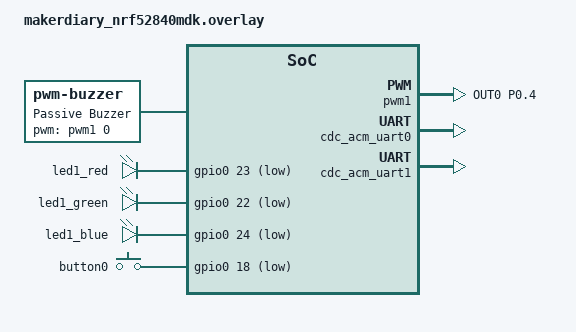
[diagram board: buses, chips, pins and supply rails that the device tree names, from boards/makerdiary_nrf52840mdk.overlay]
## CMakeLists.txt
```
#
# Copyright (c) 2018 Nordic Semiconductor
#
# SPDX-License-Identifier: LicenseRef-Nordic-5-Clause
#
cmake_minimum_required(VERSION 3.20.0)

find_package(Zephyr REQUIRED HINTS $ENV{ZEPHYR_BASE})
project(mouthpad_usb)

# Read VERSION file from repository root (two levels up from ncs/app)
set(VERSION_FILE "${CMAKE_CURRENT_SOURCE_DIR}/../../VERSION")
if(EXISTS "${VERSION_FILE}")
  file(READ "${VERSION_FILE}" FIRMWARE_VERSION_STRING)
  string(STRIP "${FIRMWARE_VERSION_STRING}" FIRMWARE_VERSION_STRING)

  # Parse version string (e.g., "0.1.0" -> major=0, minor=1, patch=0)
  string(REGEX MATCH "^([0-9]+)\\.([0-9]+)\\.([0-9]+)" VERSION_MATCH "${FIRMWARE_VERSION_STRING}")
  if(VERSION_MATCH)
    set(VERSION_MAJOR ${CMAKE_MATCH_1})
    set(VERSION_MINOR ${CMAKE_MATCH_2})
    set(VERSION_PATCH ${CMAKE_MATCH_3})

    # Convert to BCD format for USB descriptor (e.g., 0.1.0 -> 0x0010)
    math(EXPR USB_BCD_DEVICE "(${VERSION_MAJOR} << 8) | (${VERSION_MINOR} << 4) | ${VERSION_PATCH}")

    message(STATUS "Firmware version: ${FIRMWARE_VERSION_STRING} (USB bcdDevice: 0x${USB_BCD_DEVICE})")

    # Pass to compiler
    add_definitions(-DFIRMWARE_VERSION_STRING="${FIRMWARE_VERSION_STRING}")
    add_definitions(-DUSB_BCD_DEVICE=${USB_BCD_DEVICE})
  else()
    message(WARNING "Invalid VERSION format: ${FIRMWARE_VERSION_STRING}")
  endif()
else()
  message(WARNING "VERSION file not found at ${VERSION_FILE}")
endif()

target_include_directories(app PRIVATE
  src/mouthpad-proto/nanopb
  src/mouthpad-proto/src/C
)

# NORDIC SDK APP START
  target_sources(app PRIVATE
    src/ble_transport.c
    src/ble_central.c
    src/ble_nus_client.c
    src/ble_hid.c
    src/ble_bas.c
    src/ble_dis.c
    src/usb_cdc.c
    src/usb_hid.c
    src/sample_usbd_init.c
    src/oled_display.c
    src/buzzer.c
    src/leds.c
    src/button.c
    src/main.c
    src/mouthpad-proto/src/C/MouthpadRelay.pb.c
    src/mouthpad-proto/nanopb/pb_common.c
    src/mouthpad-proto/nanopb/pb_decode.c
    src/mouthpad-proto/nanopb/pb_encode.c
  )

# Add PSELRESET erase support only for MakerDiary nRF52840 MDK dongle
# This board needs PSELRESET erased to use P0.18 as button GPIO instead of reset pin
if(CONFIG_DONGLE_VARIANT_STRING STREQUAL "makerdiary_nrf52840mdk")
  target_sources(app PRIVATE
    src/pselreset_erase.c
  )
endif()

# NORDIC SDK APP END
```

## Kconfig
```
# Application configuration

config DONGLE_VARIANT_STRING
	string "Dongle hardware variant identifier"
	default ""
	help
	  Hardware variant string (e.g., "nordic", "april") to distinguish
	  between different hardware revisions with the same base board.

# USB device descriptor configuration
config SAMPLE_USBD_PID
	hex "USB Product ID"
	default 0xEEEE

config SAMPLE_USBD_MANUFACTURER
	string "USB Manufacturer String"
	default "Augmental Tech"

config SAMPLE_USBD_PRODUCT
	string "USB Product String"
	default "MouthPad^USB"

config SAMPLE_USBD_MAX_POWER
	int "USB Max Power (mA / 2)"
	default 50

# Enable settings subsystem for persistent storage
config SETTINGS
	default y

# Enable NVS backend for settings (nRF52840 uses regular flash)
config NVS
	default y if !(SOC_FLASH_NRF_RRAM || SOC_FLASH_NRF_MRAM)

source "Kconfig.zephyr"
```

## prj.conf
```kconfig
#
# Copyright (c) 2018 Nordic Semiconductor
#
# SPDX-License-Identifier: LicenseRef-Nordic-5-Clause
#

# Console configuration - REQUIRED for new USB CDC stack
# All console output (printk + logging) goes to CDC1 via zephyr,console chosen node
CONFIG_CONSOLE=y
CONFIG_UART_CONSOLE=y
CONFIG_SERIAL=y

# Shell for DFU command
CONFIG_SHELL=y
CONFIG_SHELL_BACKEND_SERIAL=y
CONFIG_SHELL_PROMPT_UART=""
# Reduce shell verbosity
CONFIG_SHELL_VT100_COLORS=n
CONFIG_SHELL_STATS=n
CONFIG_SHELL_CMDS_RESIZE=n
CONFIG_SHELL_LOG_BACKEND=n
CONFIG_KERNEL_SHELL=n

# Disable old USB stack explicitly
CONFIG_USB_DEVICE_STACK=n
CONFIG_USB_CDC_ACM=n
CONFIG_USB_DEVICE_HID=n

# Enable new USB device stack
CONFIG_USB_DEVICE_STACK_NEXT=y
CONFIG_USBD_HID_SUPPORT=y
CONFIG_USBD_CDC_ACM_CLASS=y

# CDC requirements
CONFIG_UART_LINE_CTRL=y
CONFIG_UART_USE_RUNTIME_CONFIGURE=y
CONFIG_HWINFO=y

# USB device identity (handled by sample_usbd)
# VID: 0x1915 (Nordic Semiconductor - matches ESP32 firmware)
# PID: 0xEEEE (matches ESP32 firmware)
# Note: SAMPLE_USBD_* configs are undefined in this Zephyr version
# USB descriptor configuration is handled in src/sample_usbd_init.c instead
#CONFIG_SAMPLE_USBD_PID=0xEEEE
#CONFIG_SAMPLE_USBD_MANUFACTURER="Augmental Tech"
#CONFIG_SAMPLE_USBD_PRODUCT="MouthPad^USB"
#CONFIG_SAMPLE_USBD_REMOTE_WAKEUP=y
#CONFIG_SAMPLE_USBD_SELF_POWERED=n
#CONFIG_SAMPLE_USBD_MAX_POWER=50

# Serial number from device ID (8 bytes = 16 hex chars, similar to ESP32 MAC)
CONFIG_USBD_HWINFO_DEVID_LENGTH=8

# Enable the BLE stack with GATT Client configuration
CONFIG_BT=y
CONFIG_BT_CENTRAL=y
CONFIG_BT_SMP=y
CONFIG_BT_ATT_TX_COUNT=5
CONFIG_BT_GATT_CLIENT=y

# Enable larger MTU for BLE NUS
CONFIG_BT_L2CAP_TX_MTU=247
CONFIG_BT_BUF_ACL_RX_SIZE=247
CONFIG_BT_BUF_ACL_TX_SIZE=247

# Explicitly disable SC-only mode to allow legacy pairing
CONFIG_BT_SMP_SC_PAIR_ONLY=n

# Enable the BLE modules from NCS
CONFIG_BT_NUS_CLIENT=y
CONFIG_BT_SCAN=y
CONFIG_BT_SCAN_FILTER_ENABLE=y
# Need 2 UUID filter slots: one for HID, one for NUS
CONFIG_BT_SCAN_UUID_CNT=2
CONFIG_BT_PRIVACY=y
CONFIG_BT_SCAN_ADDRESS_CNT=8
CONFIG_BT_GATT_DM=y
CONFIG_BT_HOGP=y
CONFIG_BT_BAS_CLIENT=y

# Aggressive scanning for better discovery and connection
# CONFIG_BT_SCAN_WITH_IDENTITY conflicts with BT_PRIVACY
# Note: Scan interval/window are set programmatically in ble_central.c for faster pairing

# Background scan (during active connection for RSSI updates)
CONFIG_BT_BACKGROUND_SCAN_INTERVAL=60
CONFIG_BT_BACKGROUND_SCAN_WINDOW=30

# BLE connection and pairing limits
CONFIG_BT_MAX_CONN=8
# Support up to 4 bonded devices for multi-MouthPad support
CONFIG_BT_MAX_PAIRED=4
CONFIG_BT_KEYS_OVERWRITE_OLDEST=y
CONFIG_BT_GATT_DM_MAX_ATTRS=100
CONFIG_BT_L2CAP_TX_BUF_COUNT=5
CONFIG_BT_HOGP_REPORTS_MAX=32
CONFIG_BT_DEVICE_NAME="MouthPad^USB"

CONFIG_HEAP_MEM_POOL_SIZE=16384

CONFIG_MAIN_STACK_SIZE=2048
CONFIG_SYSTEM_WORKQUEUE_STACK_SIZE=16384

# Enable bonding and persistent settings storage
CONFIG_SETTINGS=y
CONFIG_BT_SETTINGS=y
CONFIG_FLASH=y
CONFIG_FLASH_PAGE_LAYOUT=y
CONFIG_FLASH_MAP=y

# BLE Signal Strength & Connection Improvements
# TX Power: Set to maximum (+8 dBm for nRF52840)
CONFIG_BT_CTLR_TX_PWR_PLUS_8=y

# PHY Support: Enable 2M PHY for better throughput and Coded PHY for longer range
CONFIG_BT_USER_PHY_UPDATE=y
CONFIG_BT_AUTO_PHY_UPDATE=y
CONFIG_BT_CTLR_PHY_2M=y
CONFIG_BT_CTLR_PHY_CODED=y

# Data Length Extension for larger packets
CONFIG_BT_USER_DATA_LEN_UPDATE=y
CONFIG_BT_AUTO_DATA_LEN_UPDATE=y
CONFIG_BT_CTLR_DATA_LENGTH_MAX=247

# Link Layer optimizations for stability
CONFIG_BT_CTLR_CONN_RSSI=y
CONFIG_BT_CTLR_CHAN_SEL_2=y
CONFIG_BT_CTLR_LE_PING=y

# Buffer optimizations
CONFIG_BT_BUF_ACL_RX_SIZE=251
CONFIG_BT_BUF_ACL_TX_SIZE=251

CONFIG_DK_LIBRARY=y

# Console & Logging - matches working /samples/dual_cdc_hid config
# All output goes to CDC1 via zephyr,console chosen node
CONFIG_PRINTK=y
CONFIG_LOG=y
# Use deferred mode for stable enumeration (immediate mode breaks USB)
# CONFIG_LOG_MODE_IMMEDIATE is not set - defaults to deferred
CONFIG_LOG_BUFFER_SIZE=8192

# Enable UART backend for proper CDC logging
CONFIG_LOG_BACKEND_UART=y
# Disable colored output (removes ANSI escape codes)
CONFIG_LOG_BACKEND_FORMAT_TIMESTAMP=n
CONFIG_LOG_BACKEND_SHOW_COLOR=n

# USB logging levels - WRN to reduce control transfer noise
CONFIG_USBD_LOG_LEVEL_WRN=y
CONFIG_USBD_HID_LOG_LEVEL_WRN=y
# CDC_ACM logging must be disabled to prevent recursion (console uses CDC_ACM)
CONFIG_USBD_CDC_ACM_LOG_LEVEL_OFF=y
CONFIG_UDC_DRIVER_LOG_LEVEL_WRN=y

# BLE logging levels - enable for our custom modules
CONFIG_BT_LOG_LEVEL_INF=y
CONFIG_BT_HCI_CORE_LOG_LEVEL_INF=y

CONFIG_ASSERT=y

CONFIG_GPIO=y
CONFIG_INPUT=y
CONFIG_INPUT_MODE_SYNCHRONOUS=y
CONFIG_INPUT_GPIO_KEYS=y

# Display Support
CONFIG_I2C=y
CONFIG_DISPLAY=y
CONFIG_SSD1306=y
CONFIG_DISPLAY_LOG_LEVEL_ERR=y
CONFIG_CHARACTER_FRAMEBUFFER=y

# PWM Support for Buzzer
CONFIG_PWM=y
CONFIG_PWM_LOG_LEVEL_ERR=y

# UF2 Bootloader Support
CONFIG_BUILD_OUTPUT_UF2=y
```

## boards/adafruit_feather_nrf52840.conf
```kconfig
# Board-specific configuration for Adafruit Feather nRF52840

# Build UF2 by default, supported by the Adafruit nRF52 Bootloader
CONFIG_BUILD_OUTPUT_UF2=y
CONFIG_BOOTLOADER_MCUBOOT=n

# Flash and partition support (required for custom partition layouts)
CONFIG_FLASH=y
CONFIG_FLASH_PAGE_LAYOUT=y
CONFIG_FLASH_MAP=y
CONFIG_USE_DT_CODE_PARTITION=y

# Enable BT settings with NVS backend for persistent storage
CONFIG_BT_SETTINGS=y

# NVS backend for settings (required for persistence to flash)
CONFIG_SETTINGS_NVS=y

# NVS configuration for 32KB storage partition (0x8000 bytes)
# Flash page size is 4KB (0x1000), so 8 sectors * 4KB = 32KB
CONFIG_SETTINGS_NVS_SECTOR_COUNT=8
CONFIG_SETTINGS_NVS_SECTOR_SIZE_MULT=1

# Hardware stack protection (if available)
CONFIG_HW_STACK_PROTECTION=y

# Enable LED strip support for NeoPixel
CONFIG_LED_STRIP=y

# Enable debug logging for LED strip driver
CONFIG_LED_STRIP_LOG_LEVEL_DBG=y

# WS2812 specific configuration - use GPIO to match Arduino approach
CONFIG_WS2812_STRIP_GPIO=y

# Critical: Enable high-frequency clock control for precise WS2812 timing
CONFIG_CLOCK_CONTROL=y
CONFIG_CLOCK_CONTROL_NRF=y

# Enable HFXO for better timing accuracy (recommended by Nordic for WS2812)
CONFIG_CLOCK_CONTROL_NRF_K32SRC_XTAL=y
CONFIG_CLOCK_CONTROL_NRF_K32SRC_500PPM=y
```

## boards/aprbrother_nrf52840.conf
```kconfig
# Board-specific configuration for nRF52840 Dongle with Adafruit UF2 Bootloader
# April Brothers variant (non-standard LED wiring)
# No SoftDevice variant (code starts at 0x1000)
#
# NOTE: Partition layout is defined in pm_static_nrf52840dongle_nrf52840.yml
# NOTE: BOARD_HAS_NRF5_BOOTLOADER=n is set in nrf52840dongle_nrf52840_defconfig

# Dongle variant identifier
CONFIG_DONGLE_VARIANT_STRING="aprbrother_nrf52840"

# Build UF2 for Adafruit bootloader
CONFIG_BUILD_OUTPUT_UF2=y

# Disable MCUboot (we're using UF2 bootloader instead)
CONFIG_BOOTLOADER_MCUBOOT=n

# Disable Nordic bootloader support (set in defconfig, reinforced here)
CONFIG_BOARD_HAS_NRF5_BOOTLOADER=n

# Enable BT settings with NVS backend for persistent storage
CONFIG_BT_SETTINGS=y

# NVS backend for settings (required for persistence to flash)
CONFIG_SETTINGS_NVS=y

# NVS configuration for storage partition (64KB at 0xee000 from pm_static)
CONFIG_SETTINGS_NVS_SECTOR_COUNT=8
CONFIG_SETTINGS_NVS_SECTOR_SIZE_MULT=1

# Hardware stack protection
CONFIG_HW_STACK_PROTECTION=y

# Disable display support
CONFIG_DISPLAY=n

# Flash and partition support
CONFIG_FLASH=y
CONFIG_FLASH_PAGE_LAYOUT=y
CONFIG_FLASH_MAP=y
CONFIG_USE_DT_CODE_PARTITION=y
```

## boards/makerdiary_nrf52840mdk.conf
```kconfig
# Board-specific configuration for MakerDiary nRF52840 MDK USB Dongle with Adafruit UF2 Bootloader
# No SoftDevice variant (code starts at 0x1000)
#
# NOTE: Partition layout is defined in pm_static_nrf52840dongle_nrf52840.yml
# NOTE: BOARD_HAS_NRF5_BOOTLOADER=n is set in nrf52840dongle_nrf52840_defconfig

# Dongle variant identifier
CONFIG_DONGLE_VARIANT_STRING="makerdiary_nrf52840mdk"

# Disable GPIO as reset pin to allow P0.18 button to work
CONFIG_GPIO_AS_PINRESET=n

# Build UF2 for Adafruit bootloader
CONFIG_BUILD_OUTPUT_UF2=y

# Disable MCUboot (we're using UF2 bootloader instead)
CONFIG_BOOTLOADER_MCUBOOT=n

# Disable Nordic bootloader support (set in defconfig, reinforced here)
CONFIG_BOARD_HAS_NRF5_BOOTLOADER=n

# Enable BT settings with NVS backend for persistent storage
CONFIG_BT_SETTINGS=y

# NVS backend for settings (required for persistence to flash)
CONFIG_SETTINGS_NVS=y

# NVS configuration for storage partition (64KB at 0xee000 from pm_static)
CONFIG_SETTINGS_NVS_SECTOR_COUNT=8
CONFIG_SETTINGS_NVS_SECTOR_SIZE_MULT=1

# Hardware stack protection
CONFIG_HW_STACK_PROTECTION=y

# Disable display support
CONFIG_DISPLAY=n

# Flash and partition support
CONFIG_FLASH=y
CONFIG_FLASH_PAGE_LAYOUT=y
CONFIG_FLASH_MAP=y
CONFIG_USE_DT_CODE_PARTITION=y
```

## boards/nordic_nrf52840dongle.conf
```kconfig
# Board-specific configuration for nRF52840 Dongle with Adafruit UF2 Bootloader
# Nordic PCA10059 variant (stock pins)
# No SoftDevice variant (code starts at 0x1000)
#
# NOTE: Partition layout is defined in pm_static_nrf52840dongle_nrf52840.yml
# NOTE: BOARD_HAS_NRF5_BOOTLOADER=n is set in nrf52840dongle_nrf52840_defconfig

# Dongle variant identifier
CONFIG_DONGLE_VARIANT_STRING="nordic_nrf52840dongle"

# Build UF2 for Adafruit bootloader
CONFIG_BUILD_OUTPUT_UF2=y

# Disable MCUboot (we're using UF2 bootloader instead)
CONFIG_BOOTLOADER_MCUBOOT=n

# Disable Nordic bootloader support (set in defconfig, reinforced here)
CONFIG_BOARD_HAS_NRF5_BOOTLOADER=n

# Enable BT settings with NVS backend for persistent storage
CONFIG_BT_SETTINGS=y

# NVS backend for settings (required for persistence to flash)
CONFIG_SETTINGS_NVS=y

# NVS configuration for storage partition (64KB at 0xee000 from pm_static)
CONFIG_SETTINGS_NVS_SECTOR_COUNT=8
CONFIG_SETTINGS_NVS_SECTOR_SIZE_MULT=1

# Hardware stack protection
CONFIG_HW_STACK_PROTECTION=y

# Disable display support
CONFIG_DISPLAY=n

# Flash and partition support
CONFIG_FLASH=y
CONFIG_FLASH_PAGE_LAYOUT=y
CONFIG_FLASH_MAP=y
CONFIG_USE_DT_CODE_PARTITION=y
```

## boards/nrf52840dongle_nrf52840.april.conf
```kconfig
# Board-specific configuration for nRF52840 Dongle with Adafruit UF2 Bootloader
# April Brothers variant (non-standard LED wiring)
# No SoftDevice variant (code starts at 0x1000)
#
# NOTE: Partition layout is defined in pm_static_nrf52840dongle_nrf52840.yml
# NOTE: BOARD_HAS_NRF5_BOOTLOADER=n is set in nrf52840dongle_nrf52840_defconfig

# Dongle variant identifier
CONFIG_DONGLE_VARIANT_STRING="april"

# Build UF2 for Adafruit bootloader
CONFIG_BUILD_OUTPUT_UF2=y

# Disable MCUboot (we're using UF2 bootloader instead)
CONFIG_BOOTLOADER_MCUBOOT=n

# Disable Nordic bootloader support (set in defconfig, reinforced here)
CONFIG_BOARD_HAS_NRF5_BOOTLOADER=n

# Enable BT settings with NVS backend for persistent storage
CONFIG_BT_SETTINGS=y

# NVS backend for settings (required for persistence to flash)
CONFIG_SETTINGS_NVS=y

# NVS configuration for storage partition (64KB at 0xee000 from pm_static)
CONFIG_SETTINGS_NVS_SECTOR_COUNT=8
CONFIG_SETTINGS_NVS_SECTOR_SIZE_MULT=1

# Hardware stack protection
CONFIG_HW_STACK_PROTECTION=y

# Disable display support
CONFIG_DISPLAY=n

# Flash and partition support
CONFIG_FLASH=y
CONFIG_FLASH_PAGE_LAYOUT=y
CONFIG_FLASH_MAP=y
CONFIG_USE_DT_CODE_PARTITION=y
```

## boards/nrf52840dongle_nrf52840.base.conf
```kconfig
# Nordic PCA10059 variant configuration
# This file is copied to nrf52840dongle_nrf52840.conf during build-nordic-dongle

CONFIG_DONGLE_VARIANT_STRING="nordic"
```

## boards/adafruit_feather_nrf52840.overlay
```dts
/*
 * Copyright (c) 2025 Robert Dale Smith
 * Copyright (c) 2025 Augmental Tech
 *
 * SPDX-License-Identifier: Apache-2.0
 */

/* Adafruit Feather nRF52840 overlay for MouthPad^USB */

#include <zephyr/dt-bindings/led/led.h>

/* Override default MCUboot partitions with UF2-compatible layout for Adafruit nRF52840 */

/* I2C0 can be used for external displays if connected */
&i2c0 {
	status = "okay";
};

/* Add PWM configuration for passive buzzer on pin A0 (P0.04) */
&pinctrl {
	pwm1_default: pwm1_default {
		group1 {
			psels = <NRF_PSEL(PWM_OUT0, 0, 4)>; /* A0 pin for buzzer */
		};
	};

	pwm1_sleep: pwm1_sleep {
		group1 {
			psels = <NRF_PSEL(PWM_OUT0, 0, 4)>;
			low-power-enable;
		};
	};

};

&pwm1 {
	status = "okay";
	pinctrl-0 = <&pwm1_default>;
	pinctrl-1 = <&pwm1_sleep>;
	pinctrl-names = "default", "sleep";
};

/* Use GPIO driver to match Arduino's direct GPIO approach */
/ {
	neopixel: ws2812 {
		compatible = "worldsemi,ws2812-gpio";
		chain-length = <1>;
		color-mapping = <LED_COLOR_ID_GREEN LED_COLOR_ID_RED LED_COLOR_ID_BLUE>; /* GRB order */
		/* P0.16 confirmed by schematic and working Arduino code - high-speed pin */
		gpios = <&gpio0 16 GPIO_ACTIVE_HIGH>;
	};
};

/ {
	chosen {
		nordic,nus-uart = &cdc_acm_uart0;  /* BLE NUS bridge uses CDC0 */
		zephyr,console = &cdc_acm_uart1;   /* Console/logs on CDC1 */
		zephyr,shell-uart = &cdc_acm_uart1;
		zephyr,led-strip = &neopixel;  /* Critical: Set chosen led-strip for timing calculations */
	};

	/* Ensure CPU frequency is properly defined for WS2812 timing calculations */
	cpus {
		cpu@0 {
			clock-frequency = <64000000>;  /* 64MHz - standard nRF52840 frequency */
		};
	};

	aliases {
		buzzer-pwm = &pwm1;
		led-strip = &neopixel;
		led0 = &neopixel;  /* Make led0 alias point to neopixel for HAS_NEOPIXEL detection */
		sw0 = &button0;    /* Use existing Feather user button */
	};

	/* HID device node */
	hid_dev_0: hid_dev_0 {
		compatible = "zephyr,hid-device";
		label = "MouthPad^HID";
		protocol-code = "mouse";
		in-report-size = <64>;
		in-polling-period-us = <1000>;
	};

	buzzer {
		compatible = "pwm-buzzer";
		pwms = <&pwm1 0 1000000 PWM_POLARITY_NORMAL>; /* 1MHz base period */
		label = "Passive Buzzer";
	};

	/* NeoPixel powered directly from 3.3V - no power enable needed */
};

/* Add dual CDC ACM nodes */
&zephyr_udc0 {
	cdc_acm_uart0: cdc_acm_uart0 {
		compatible = "zephyr,cdc-acm-uart";
		label = "CDC_ACM_0";
	};

	cdc_acm_uart1: cdc_acm_uart1 {
		compatible = "zephyr,cdc-acm-uart";
		label = "CDC_ACM_1";
	};
};

/* Remove default partition map before defining UF2 layout */
/delete-node/ &boot_partition;
/delete-node/ &slot0_partition;
/delete-node/ &slot1_partition;
/delete-node/ &storage_partition;

&flash0 {
	/*
	 * UF2 flash layout for nrf52840 using Adafruit bootloader
	 *
	 * 0x00000000 SoftDevice s140 v6    (152 kB)  
	 * 0x00026000 Application partition (792 kB)
	 * 0x000ec000 Storage partition     (32 kB)
	 * 0x000f4000 UF2 boot partition    (48 kB)
	 *
	 * See https://learn.adafruit.com/introducing-the-adafruit-nrf52840-feather/hathach-memory-map
	 */

	partitions {
		compatible = "fixed-partitions";
		#address-cells = <1>;
		#size-cells = <1>;

		sd_partition: partition@0 {
			label = "softdevice";
			reg = <0x00000000 0x00026000>;
		};

	code_partition: partition@26000 {
		label = "code_partition";
		reg = <0x00026000 0x000c6000>;
	};

		storage_partition: partition@ec000 {
			label = "storage";
			reg = <0x000ec000 0x00008000>;
		};

		boot_partition: partition@f4000 {
			label = "adafruit_boot";
			reg = <0x000f4000 0x0000c000>;
		};
	};
};

/ {
	chosen {
		zephyr,code-partition = &code_partition;
		zephyr,settings-partition = &storage_partition;
	};
};
```

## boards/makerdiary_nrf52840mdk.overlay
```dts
/*
 * MakerDiary nRF52840 MDK USB Dongle overlay for MouthPad^USB
 * Hardware: MakerDiary nRF52840 MDK with Adafruit nRF52 Bootloader (no SoftDevice)
 *
 * Bootloader: Adafruit nRF52 UF2 bootloader at 0x0-0x1000
 * USB Drive: Shows as "MDK-DONGLE" when in bootloader mode
 *
 * NOTE: Uses no-SoftDevice memory layout (code starts at 0x1000)
 *       App runs Zephyr BLE controller (no actual SoftDevice binary)
 *
 * MakerDiary MDK Dongle pin assignments (all active LOW):
 *   RGB LED Red: P0.23
 *   RGB LED Green: P0.22
 *   RGB LED Blue: P0.24
 *   USER/RESET Button: P0.18
 */

&pinctrl {
	pwm1_default: pwm1_default {
		group1 {
			psels = <NRF_PSEL(PWM_OUT0, 0, 4)>;
		};
	};

	pwm1_sleep: pwm1_sleep {
		group1 {
			psels = <NRF_PSEL(PWM_OUT0, 0, 4)>;
			low-power-enable;
		};
	};
};

&pwm1 {
	status = "okay";
	pinctrl-0 = <&pwm1_default>;
	pinctrl-1 = <&pwm1_sleep>;
	pinctrl-names = "default", "sleep";
};

/ {
	chosen {
		nordic,nus-uart = &cdc_acm_uart0;
		zephyr,console = &cdc_acm_uart1;
		zephyr,shell-uart = &cdc_acm_uart1;
	};

	aliases {
		buzzer-pwm = &pwm1;
		/* Remap LED aliases to MakerDiary MDK pins */
		led0 = &led1_red;         /* Use red as primary LED */
		led1 = &led1_green;       /* Green */
		led2 = &led1_blue;        /* Blue */
	};

	hid_dev_0: hid_dev_0 {
		compatible = "zephyr,hid-device";
		label = "MouthPad^HID";
		protocol-code = "mouse";
		in-report-size = <64>;
		in-polling-period-us = <1000>;
	};

	buzzer {
		compatible = "pwm-buzzer";
		pwms = <&pwm1 0 1000000 PWM_POLARITY_NORMAL>;
		label = "Passive Buzzer";
	};
};

/* Override LED pins for MakerDiary MDK */
&led1_red {
	gpios = <&gpio0 23 GPIO_ACTIVE_LOW>;
};

&led1_green {
	gpios = <&gpio0 22 GPIO_ACTIVE_LOW>;
};

&led1_blue {
	gpios = <&gpio0 24 GPIO_ACTIVE_LOW>;
};

/* Enable button on P0.18 as GPIO (not reset) */
&button0 {
	gpios = <&gpio0 18 (GPIO_PULL_UP | GPIO_ACTIVE_LOW)>;
};

/* Override UICR to NOT use gpio-as-nreset for MakerDiary MDK
 * This prevents P0.18 from being configured as RESET pin */
&uicr {
	/delete-property/ gpio-as-nreset;
};

/* Disable standalone green LED from Nordic board (not present on MakerDiary) */
&led0_green {
	status = "disabled";
};

/* Disable PWM LEDs from base board (we're using GPIO LEDs) */
&pwm0 {
	status = "disabled";
};

/* Disable UART0 - it conflicts with our LED pins (P0.22, P0.24) and we don't need it */
&uart0 {
	status = "disabled";
};

/* Disable board's default CDC node */
&board_cdc_acm_uart {
	status = "disabled";
};

/* Add dual CDC ACM nodes */
&zephyr_udc0 {
	cdc_acm_uart0: cdc_acm_uart0 {
		compatible = "zephyr,cdc-acm-uart";
		label = "CDC_ACM_0";
	};

	cdc_acm_uart1: cdc_acm_uart1 {
		compatible = "zephyr,cdc-acm-uart";
		label = "CDC_ACM_1";
	};
};

/* Override default partitions for Adafruit bootloader (no SoftDevice) */
/delete-node/ &boot_partition;
/delete-node/ &slot0_partition;
/delete-node/ &slot1_partition;
/delete-node/ &storage_partition;

&flash0 {
	partitions {
		compatible = "fixed-partitions";
		#address-cells = <1>;
		#size-cells = <1>;

		/* Adafruit bootloader resides at 0x0-0x1000 */
		boot_partition: partition@0 {
			label = "adafruit_boot";
			reg = <0x00000000 0x00001000>;
		};

		/* Application code starts immediately after bootloader (no SoftDevice) */
		code_partition: partition@1000 {
			label = "code_partition";
			reg = <0x00001000 0x000ed000>;
		};

		/*
		 * MBR params page (0xfe000) must not be included in our partitions
		 * Storage ends before MBR params
		 */
		storage_partition: partition@ee000 {
			label = "storage";
			reg = <0x000ee000 0x00010000>;
		};
	};
};

/ {
	chosen {
		zephyr,code-partition = &code_partition;
		zephyr,settings-partition = &storage_partition;
	};
};
```

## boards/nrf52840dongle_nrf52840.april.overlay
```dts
/*
 * April Brothers nRF52840 Dongle overlay for MouthPad^USB
 * Hardware based on PCA10059 with Adafruit nRF52 Bootloader
 *
 * Bootloader: Adafruit nRF52 UF2 bootloader with SoftDevice S140 v6.1.1 layout
 * USB Drive: Shows as "NRF52BOOT" when in bootloader mode (double-tap reset)
 *
 * NOTE: Uses SoftDevice memory layout for bootloader compatibility
 *       but app runs Zephyr BLE controller (no actual SoftDevice binary)
 *
 * NOTE: April Brothers claims same pin mapping as Nordic wiki but physical wiring differs!
 * Pin mappings from: https://wiki.aprbrother.com/en/BleUsbDongle.html
 *
 * USAGE: To use this April Brothers variant:
 *   mv app/boards/nrf52840dongle_nrf52840.overlay app/boards/nrf52840dongle_nrf52840_nordic.overlay.bak
 *   mv app/boards/nrf52840dongle_nrf52840_april.overlay app/boards/nrf52840dongle_nrf52840.overlay
 *   make build-april
 *
 * To switch back to Nordic PCA10059:
 *   mv app/boards/nrf52840dongle_nrf52840.overlay app/boards/nrf52840dongle_nrf52840_april.overlay
 *   mv app/boards/nrf52840dongle_nrf52840_nordic.overlay.bak app/boards/nrf52840dongle_nrf52840.overlay
 */

&pinctrl {
	pwm1_default: pwm1_default {
		group1 {
			psels = <NRF_PSEL(PWM_OUT0, 0, 4)>;
		};
	};

	pwm1_sleep: pwm1_sleep {
		group1 {
			psels = <NRF_PSEL(PWM_OUT0, 0, 4)>;
			low-power-enable;
		};
	};
};

&pwm1 {
	status = "okay";
	pinctrl-0 = <&pwm1_default>;
	pinctrl-1 = <&pwm1_sleep>;
	pinctrl-names = "default", "sleep";
};

/* Override LED GPIO pins to match April Brothers ACTUAL physical wiring
 * The base board defines led0_green, led1_red, led1_green, led1_blue
 * We override their GPIO assignments to use the RGB LED (LED2)
 *
 * April Brothers wiki says: Red=P0.08, Green=P1.09, Blue=P0.12
 * Test pattern revealed actual physical LED mapping:
 *   Code RED -> Physical BLUE (P0.08)
 *   Code GREEN -> Physical RED (P1.09)
 *   Code BLUE -> Physical GREEN (P0.12)
 *
 * Correct mapping (swap code channels to get right colors):
 *   led0 (red in code) -> P1.09 (physical red)
 *   led1 (green in code) -> P0.12 (physical green)
 *   led2 (blue in code) -> P0.08 (physical blue)
 */
&led0_green {
	gpios = <&gpio1 9 GPIO_ACTIVE_LOW>;  /* Code red -> Physical red (P1.09) */
	label = "LED Red";
};

&led1_red {
	gpios = <&gpio0 12 GPIO_ACTIVE_LOW>;  /* Code green -> Physical green (P0.12) */
	label = "LED Green";
};

&led1_green {
	gpios = <&gpio0 8 GPIO_ACTIVE_LOW>;  /* Code blue -> Physical blue (P0.08) */
	label = "LED Blue";
};

/* Disable standalone LED1 for sanity check */
&led1_blue {
	status = "disabled";
};

/* Override button to match April Brothers pinout (P1.06) */
&button0 {
	gpios = <&gpio1 6 (GPIO_PULL_UP | GPIO_ACTIVE_LOW)>;
	label = "Push button switch SW1";
};

/ {
	chosen {
		nordic,nus-uart = &cdc_acm_uart0;
		zephyr,console = &cdc_acm_uart1;
		zephyr,shell-uart = &cdc_acm_uart1;
	};

	aliases {
		buzzer-pwm = &pwm1;
	};

	hid_dev_0: hid_dev_0 {
		compatible = "zephyr,hid-device";
		label = "MouthPad^HID";
		protocol-code = "mouse";
		in-report-size = <64>;
		in-polling-period-us = <1000>;
	};

	buzzer {
		compatible = "pwm-buzzer";
		pwms = <&pwm1 0 1000000 PWM_POLARITY_NORMAL>;
		label = "Passive Buzzer";
	};
};

/* Disable board's default CDC node */
&board_cdc_acm_uart {
	status = "disabled";
};

/* Add dual CDC ACM nodes */
&zephyr_udc0 {
	cdc_acm_uart0: cdc_acm_uart0 {
		compatible = "zephyr,cdc-acm-uart";
		label = "CDC_ACM_0";
	};

	cdc_acm_uart1: cdc_acm_uart1 {
		compatible = "zephyr,cdc-acm-uart";
		label = "CDC_ACM_1";
	};
};

/* Override default partitions for Adafruit bootloader (no SoftDevice) */
/delete-node/ &boot_partition;
/delete-node/ &slot0_partition;
/delete-node/ &slot1_partition;
/delete-node/ &storage_partition;

&flash0 {
	partitions {
		compatible = "fixed-partitions";
		#address-cells = <1>;
		#size-cells = <1>;

		/* Adafruit bootloader resides at 0x0-0x1000 */
		boot_partition: partition@0 {
			label = "adafruit_boot";
			reg = <0x00000000 0x00001000>;
		};

		/* Application code starts immediately after bootloader (no SoftDevice) */
		code_partition: partition@1000 {
			label = "code_partition";
			reg = <0x00001000 0x000ed000>;
		};

		/*
		 * MBR params page (0xfe000) must not be included in our partitions
		 * Storage ends before MBR params
		 */
		storage_partition: partition@ee000 {
			label = "storage";
			reg = <0x000ee000 0x00010000>;
		};
	};
};

/ {
	chosen {
		zephyr,code-partition = &code_partition;
		zephyr,settings-partition = &storage_partition;
	};
};
```

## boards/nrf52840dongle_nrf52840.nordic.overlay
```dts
/*
 * Nordic nRF52840 Dongle (PCA10059) overlay for MouthPad^USB
 * Hardware: Nordic PCA10059 with Adafruit nRF52 Bootloader (no SoftDevice)
 *
 * Bootloader: Adafruit nRF52 UF2 bootloader at 0x0-0x1000
 * USB Drive: Shows as "NRF52BOOT" when in bootloader mode (reset button)
 *
 * NOTE: Uses no-SoftDevice memory layout (code starts at 0x1000)
 *       App runs Zephyr BLE controller (no actual SoftDevice binary)
 *
 * This uses STOCK Nordic pin assignments per wiki:
 *   LD1 Green: P0.06
 *   LD2 Red: P0.08, Green: P1.09, Blue: P0.12
 *   SW1 Button: P1.06
 *
 * NOTE: For April Brothers dongle, use nrf52840dongle_nrf52840.april.overlay instead!
 *       April Brothers has different physical LED wiring despite claiming compatibility.
 */

&pinctrl {
	pwm1_default: pwm1_default {
		group1 {
			psels = <NRF_PSEL(PWM_OUT0, 0, 4)>;
		};
	};

	pwm1_sleep: pwm1_sleep {
		group1 {
			psels = <NRF_PSEL(PWM_OUT0, 0, 4)>;
			low-power-enable;
		};
	};
};

&pwm1 {
	status = "okay";
	pinctrl-0 = <&pwm1_default>;
	pinctrl-1 = <&pwm1_sleep>;
	pinctrl-names = "default", "sleep";
};

/* Override LED aliases for Nordic PCA10059 stock wiring
 *
 * Board default aliases:
 *   led0 -> led0_green (LD1 standalone green - NOT what we want)
 *   led1 -> led1_red (LD2 red channel)
 *   led2 -> led1_green (LD2 green channel)
 *   led3 -> led1_blue (LD2 blue channel)
 *
 * Our code expects:
 *   led0 = RED channel
 *   led1 = GREEN channel
 *   led2 = BLUE channel
 *
 * Nordic PCA10059 LD2 (RGB) wiring per wiki:
 *   led1_red -> P0.08 (physical red)
 *   led1_green -> P1.09 (physical green)
 *   led1_blue -> P0.12 (physical blue)
 *
 * Solution: Remap aliases to use only LD2 (RGB LED)
 */

/ {
	chosen {
		nordic,nus-uart = &cdc_acm_uart0;
		zephyr,console = &cdc_acm_uart1;
		zephyr,shell-uart = &cdc_acm_uart1;
	};

	aliases {
		buzzer-pwm = &pwm1;
		/* Remap LEDs to use only LD2 (RGB) instead of LD1 */
		led0 = &led1_red;    /* RED: LD2 red channel (P0.08) */
		led1 = &led1_green;  /* GREEN: LD2 green channel (P1.09) */
		led2 = &led1_blue;   /* BLUE: LD2 blue channel (P0.12) */
	};

	hid_dev_0: hid_dev_0 {
		compatible = "zephyr,hid-device";
		label = "MouthPad^HID";
		protocol-code = "mouse";
		in-report-size = <64>;
		in-polling-period-us = <1000>;
	};

	buzzer {
		compatible = "pwm-buzzer";
		pwms = <&pwm1 0 1000000 PWM_POLARITY_NORMAL>;
		label = "Passive Buzzer";
	};
};

/* Disable board's default CDC node */
&board_cdc_acm_uart {
	status = "disabled";
};

/* Add dual CDC ACM nodes */
&zephyr_udc0 {
	cdc_acm_uart0: cdc_acm_uart0 {
		compatible = "zephyr,cdc-acm-uart";
		label = "CDC_ACM_0";
	};

	cdc_acm_uart1: cdc_acm_uart1 {
		compatible = "zephyr,cdc-acm-uart";
		label = "CDC_ACM_1";
	};
};

/* Override default partitions for Adafruit bootloader (no SoftDevice) */
/delete-node/ &boot_partition;
/delete-node/ &slot0_partition;
/delete-node/ &slot1_partition;
/delete-node/ &storage_partition;

&flash0 {
	partitions {
		compatible = "fixed-partitions";
		#address-cells = <1>;
		#size-cells = <1>;

		/* Adafruit bootloader resides at 0x0-0x1000 */
		boot_partition: partition@0 {
			label = "adafruit_boot";
			reg = <0x00000000 0x00001000>;
		};

		/* Application code starts immediately after bootloader (no SoftDevice) */
		code_partition: partition@1000 {
			label = "code_partition";
			reg = <0x00001000 0x000ed000>;
		};

		/*
		 * MBR params page (0xfe000) must not be included in our partitions
		 * Storage ends before MBR params
		 */
		storage_partition: partition@ee000 {
			label = "storage";
			reg = <0x000ee000 0x00010000>;
		};
	};
};

/ {
	chosen {
		zephyr,code-partition = &code_partition;
		zephyr,settings-partition = &storage_partition;
	};
};
```

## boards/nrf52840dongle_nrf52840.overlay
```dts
/*
 * Nordic nRF52840 Dongle (PCA10059) overlay for MouthPad^USB
 * With Adafruit UF2 Bootloader + SoftDevice S140 6.1.1
 *
 * This uses STOCK Nordic pin assignments per wiki:
 *   LD1 Green: P0.06
 *   LD2 Red: P0.08, Green: P1.09, Blue: P0.12
 *   SW1 Button: P1.06
 *
 * NOTE: For April Brothers dongle, use nrf52840dongle_nrf52840.april.overlay instead!
 *       April Brothers has different physical LED wiring despite claiming compatibility.
 */

&pinctrl {
	pwm1_default: pwm1_default {
		group1 {
			psels = <NRF_PSEL(PWM_OUT0, 0, 4)>;
		};
	};

	pwm1_sleep: pwm1_sleep {
		group1 {
			psels = <NRF_PSEL(PWM_OUT0, 0, 4)>;
			low-power-enable;
		};
	};
};

&pwm1 {
	status = "okay";
	pinctrl-0 = <&pwm1_default>;
	pinctrl-1 = <&pwm1_sleep>;
	pinctrl-names = "default", "sleep";
};

/* Override LED aliases for Nordic PCA10059 stock wiring
 *
 * Board default aliases:
 *   led0 -> led0_green (LD1 standalone green - NOT what we want)
 *   led1 -> led1_red (LD2 red channel)
 *   led2 -> led1_green (LD2 green channel)
 *   led3 -> led1_blue (LD2 blue channel)
 *
 * Our code expects:
 *   led0 = RED channel
 *   led1 = GREEN channel
 *   led2 = BLUE channel
 *
 * Nordic PCA10059 LD2 (RGB) wiring per wiki:
 *   led1_red -> P0.08 (physical red)
 *   led1_green -> P1.09 (physical green)
 *   led1_blue -> P0.12 (physical blue)
 *
 * Solution: Remap aliases to use only LD2 (RGB LED)
 */

/ {
	chosen {
		nordic,nus-uart = &cdc_acm_uart0;
		zephyr,console = &cdc_acm_uart1;
		zephyr,shell-uart = &cdc_acm_uart1;
	};

	aliases {
		buzzer-pwm = &pwm1;
		/* Remap LEDs to use only LD2 (RGB) instead of LD1 */
		led0 = &led1_red;    /* RED: LD2 red channel (P0.08) */
		led1 = &led1_green;  /* GREEN: LD2 green channel (P1.09) */
		led2 = &led1_blue;   /* BLUE: LD2 blue channel (P0.12) */
	};

	hid_dev_0: hid_dev_0 {
		compatible = "zephyr,hid-device";
		label = "MouthPad^HID";
		protocol-code = "mouse";
		in-report-size = <64>;
		in-polling-period-us = <1000>;
	};

	buzzer {
		compatible = "pwm-buzzer";
		pwms = <&pwm1 0 1000000 PWM_POLARITY_NORMAL>;
		label = "Passive Buzzer";
	};
};

/* Disable board's default CDC node */
&board_cdc_acm_uart {
	status = "disabled";
};

/* Add dual CDC ACM nodes */
&zephyr_udc0 {
	cdc_acm_uart0: cdc_acm_uart0 {
		compatible = "zephyr,cdc-acm-uart";
		label = "CDC_ACM_0";
	};

	cdc_acm_uart1: cdc_acm_uart1 {
		compatible = "zephyr,cdc-acm-uart";
		label = "CDC_ACM_1";
	};
};

/* Override default partitions with SoftDevice layout */
/delete-node/ &boot_partition;
/delete-node/ &slot0_partition;
/delete-node/ &slot1_partition;
/delete-node/ &storage_partition;

&flash0 {
	partitions {
		compatible = "fixed-partitions";
		#address-cells = <1>;
		#size-cells = <1>;

		sd_partition: partition@0 {
			label = "softdevice";
			reg = <0x00000000 0x00026000>;
		};

		code_partition: partition@26000 {
			label = "code_partition";
			reg = <0x00026000 0x000c6000>;
		};

		storage_partition: partition@ec000 {
			label = "storage";
			reg = <0x000ec000 0x00008000>;
		};

		boot_partition: partition@f4000 {
			label = "adafruit_boot";
			reg = <0x000f4000 0x0000c000>;
		};
	};
};

/ {
	chosen {
		zephyr,code-partition = &code_partition;
		zephyr,settings-partition = &storage_partition;
	};
};
```

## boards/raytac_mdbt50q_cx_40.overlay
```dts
/*
 * Raytac MDBT50Q-CX-40 overlay for MouthPad^USB
 * Hardware: Raytac MDBT50Q-CX-40 with Nordic nRF5 DFU Bootloader
 *
 * Bootloader: Nordic Open DFU bootloader at 0xF4000-0xFE000
 * Application: Loads at 0x1000 (after MBR at 0x0-0x1000)
 *
 * Raytac MDBT50Q-CX-40 pin assignments:
 *   LED D1 (Green): P0.6 (active low)
 *   LED D2 (Red): P0.8 (active low)
 *   Button SW1: P1.6 (active low with pullup)
 */

/* Disable PWM/buzzer for initial testing */
/*
&pinctrl {
	pwm1_default: pwm1_default {
		group1 {
			psels = <NRF_PSEL(PWM_OUT0, 0, 4)>;
		};
	};

	pwm1_sleep: pwm1_sleep {
		group1 {
			psels = <NRF_PSEL(PWM_OUT0, 0, 4)>;
			low-power-enable;
		};
	};
};

&pwm1 {
	status = "okay";
	pinctrl-0 = <&pwm1_default>;
	pinctrl-1 = <&pwm1_sleep>;
	pinctrl-names = "default", "sleep";
};
*/

/* Disable UICR GPIO-as-reset to prevent UICR writes with DFU bootloader */
&uicr {
	/delete-property/ gpio-as-nreset;
};

/* Partition layout managed by NCS Partition Manager (pm_static file) */
/* Manual DTS partition definitions removed - PM handles Nordic DFU bootloader layout */

/* Override LED mappings for MouthPad USB firmware
 * Map all LED channels to the available LEDs
 */
&led0_d1 {
	label = "Blue LED";
};

&led1_d2 {
	label = "Red LED";
};

/ {
	aliases {
		/* Map LED aliases for firmware compatibility
		 * Firmware expects: led0=red, led1=green, led2=blue
		 * Board has: D1=blue (P0.6), D2=red (P0.8)
		 * Map primary LED (D1/blue) to all channels since firmware uses led0 most
		 */
		led0 = &led0_d1;  /* Blue LED - primary indicator */
		led1 = &led0_d1;  /* Blue LED - reuse */
		led2 = &led0_d1;  /* Blue LED - reuse */
		led0-green = &led0_d1;
		led1-red = &led1_d2;
		led1-blue = &led0_d1;
	};

	hid_dev_0: hid_dev_0 {
		compatible = "zephyr,hid-device";
		label = "MouthPad^HID";
		protocol-code = "mouse";
		in-report-size = <64>;
		in-polling-period-us = <1000>;
	};

	chosen {
		/* Use dual CDC configuration for MouthPad firmware */
		nordic,nus-uart = &cdc_acm_uart0;
		zephyr,console = &cdc_acm_uart1;
		zephyr,shell-uart = &cdc_acm_uart1;
		/* Settings partition managed by Partition Manager */
	};
};

/* Disable default single CDC ACM node - we use dual CDC instead */
&board_cdc_acm_uart {
	status = "disabled";
};

/* Enable dual CDC for MouthPad firmware */
&zephyr_udc0 {
	cdc_acm_uart0: cdc_acm_uart0 {
		compatible = "zephyr,cdc-acm-uart";
		label = "CDC_ACM_0";
	};

	cdc_acm_uart1: cdc_acm_uart1 {
		compatible = "zephyr,cdc-acm-uart";
		label = "CDC_ACM_1";
	};
};
```

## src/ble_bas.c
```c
/*
 * Copyright (c) 2025 Robert Dale Smith
 * Copyright (c) 2025 Augmental Tech
 *
 * SPDX-License-Identifier: Apache-2.0
 */

#include <zephyr/kernel.h>
#include <zephyr/logging/log.h>
#include <zephyr/bluetooth/conn.h>
#include <zephyr/bluetooth/gatt.h>
#include <bluetooth/gatt_dm.h>
#include <bluetooth/services/bas_client.h>

#include "ble_bas.h"
#include "ble_central.h"

#define LOG_MODULE_NAME ble_bas
LOG_MODULE_REGISTER(LOG_MODULE_NAME);

/* Battery Service client instance */
static struct bt_bas_client bas;
static bool bas_ready = false;

/* Allow tests to access battery level for unit testing */
#ifdef CONFIG_ZTEST
uint8_t current_battery_level = 0xFF; /* Invalid/unknown initially */
#else
static uint8_t current_battery_level = 0xFF; /* Invalid/unknown initially */
#endif

/* Battery Service callbacks following Nordic central_bas pattern */
static void battery_notify_cb(struct bt_bas_client *bas, uint8_t battery_level);
static void battery_discovery_completed_cb(struct bt_gatt_dm *dm, void *context);
static void battery_discovery_service_not_found_cb(struct bt_conn *conn, void *context);
static void battery_discovery_error_found_cb(struct bt_conn *conn, int err, void *context);

/* GATT Discovery Manager callback structure */
static struct bt_gatt_dm_cb battery_discovery_cb = {
	.completed = battery_discovery_completed_cb,
	.service_not_found = battery_discovery_service_not_found_cb,
	.error_found = battery_discovery_error_found_cb,
};

/* Public API implementations */
int ble_bas_init(void)
{
	LOG_INF("Initializing Battery Service client...");
	
	/* Initialize Battery Service client following Nordic pattern */
	bt_bas_client_init(&bas);
	
	LOG_INF("Battery Service client initialized successfully");
	return 0;
}

int ble_bas_discover(struct bt_conn *conn)
{
	int err;

	if (!conn || conn != ble_central_get_default_conn()) {
		LOG_WRN("Invalid connection for Battery Service discovery");
		return -EINVAL;
	}

	LOG_INF("Starting Battery Service discovery");

	err = bt_gatt_dm_start(conn, BT_UUID_BAS, &battery_discovery_cb, NULL);
	if (err) {
		LOG_ERR("Could not start battery discovery: %d", err);
		return err;
	}
	
	return 0;
}

bool ble_bas_is_ready(void)
{
	return bas_ready;
}

void ble_bas_reset(void)
{
	bas_ready = false;
	current_battery_level = 0xFF; /* Reset to invalid/unknown */
	LOG_DBG("Battery service reset");
}

uint8_t ble_bas_get_battery_level(void)
{
	return current_battery_level;
}

ble_bas_rgb_color_t ble_bas_get_battery_color(ble_bas_color_mode_t mode)
{
	ble_bas_rgb_color_t color = {0, 0, 0}; /* Default to off */
	
	/* If battery level is invalid/unknown, default to green (assume full battery) */
	if (current_battery_level == 0xFF || current_battery_level > 100) {
		color.green = 255;
		return color;
	}
	
	if (mode == BAS_COLOR_MODE_DISCRETE) {
		/* Segmented colors optimized for GPIO LEDs */
		if (current_battery_level >= 50) {
			/* Green: 100-50% */
			color.green = 255;
		} else if (current_battery_level >= 10) {
			/* Yellow: 49-10% */
			color.red = 255;
			color.green = 255;
		} else {
			/* Red: 10-0% */
			color.red = 255;
		}
	} else {
		/* Gradient mode: smooth transition from green to red */
		if (current_battery_level >= 50) {
			/* Green to yellow gradient (100% to 50%) */
			/* Green stays at 255, red increases from 0 to 255 */
			color.green = 255;
			color.red = (uint8_t)(255 * (100 - current_battery_level) / 50);
		} else {
			/* Yellow to red gradient (50% to 0%) */
			/* Red stays at 255, green decreases from 255 to 0 */
			color.red = 255;
			color.green = (uint8_t)(255 * current_battery_level / 50);
		}
	}
	
	return color;
}

/* Battery Service callback implementations */
static void battery_notify_cb(struct bt_bas_client *bas, uint8_t battery_level)
{
	if (battery_level == BT_BAS_VAL_INVALID) {
		LOG_WRN("Battery notification aborted");
		current_battery_level = 0xFF; /* Mark as invalid */
	} else {
		LOG_INF("=== BATTERY LEVEL: %d%% ===", battery_level);
		current_battery_level = battery_level; /* Store current level */
	}
}

static void battery_discovery_completed_cb(struct bt_gatt_dm *dm, void *context)
{
	int err;

	LOG_INF("Battery Service discovery completed");

	bt_gatt_dm_data_print(dm);

	err = bt_bas_handles_assign(dm, &bas);
	if (err) {
		LOG_ERR("Could not assign BAS handles: %d", err);
		goto cleanup;
	}

	if (bt_bas_notify_supported(&bas)) {
		LOG_INF("Battery notifications supported - subscribing");
		err = bt_bas_subscribe_battery_level(&bas, battery_notify_cb);
		if (err) {
			LOG_WRN("Cannot subscribe to battery notifications (err: %d)", err);
		} else {
			bas_ready = true;
		}
	} else {
		LOG_INF("Battery notifications not supported - using periodic reads");
		err = bt_bas_start_per_read_battery_level(&bas, 10000, battery_notify_cb);
		if (err) {
			LOG_WRN("Could not start periodic battery reads: %d", err);
		} else {
			bas_ready = true;
		}
	}

cleanup:
	err = bt_gatt_dm_data_release(dm);
	if (err) {
		LOG_ERR("Could not release battery discovery data: %d", err);
	}

	/* DIS discovery is now started earlier in gatt_discover() for faster firmware/VID/PID retrieval */
	LOG_DBG("Battery Service discovery complete (DIS already started)");
}

static void battery_discovery_service_not_found_cb(struct bt_conn *conn, void *context)
{
	ARG_UNUSED(conn);
	ARG_UNUSED(context);
	LOG_INF("Battery Service not found during discovery");
	/* DIS discovery is now started earlier in gatt_discover() */
}

static void battery_discovery_error_found_cb(struct bt_conn *conn, int err, void *context)
{
	ARG_UNUSED(conn);
	ARG_UNUSED(context);
	LOG_ERR("Battery Service discovery failed: %d", err);
	/* DIS discovery is now started earlier in gatt_discover() */
}
```

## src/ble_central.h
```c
/*
 * Copyright (c) 2025 Robert Dale Smith
 * Copyright (c) 2025 Augmental Tech
 *
 * SPDX-License-Identifier: Apache-2.0
 */

#ifndef BLE_CENTRAL_H
#define BLE_CENTRAL_H

#include <zephyr/kernel.h>
#include <zephyr/bluetooth/bluetooth.h>
#include <zephyr/bluetooth/conn.h>
#include <bluetooth/scan.h>

/* BLE Central initialization and control functions */
int ble_central_init(void);
int ble_central_start_scan(void);
int ble_central_stop_scan(void);
int ble_central_start_additional_scan(void);  /* Scan for NEW device (ignore already bonded) */

/* Connection management */
struct bt_conn *ble_central_get_default_conn(void);
void ble_central_set_default_conn(struct bt_conn *conn);

/* Callback registration for external modules */
typedef void (*ble_central_connected_cb_t)(struct bt_conn *conn);
typedef void (*ble_central_disconnected_cb_t)(struct bt_conn *conn, uint8_t reason);

void ble_central_register_connected_cb(ble_central_connected_cb_t cb);
void ble_central_register_disconnected_cb(ble_central_disconnected_cb_t cb);

/* Get scan work for external scheduling */
struct k_work *ble_central_get_scan_work(void);

/* Device type detection functions */
bool ble_central_is_nus_device(const struct bt_scan_device_info *device_info);
bool ble_central_is_hid_device(const struct bt_scan_device_info *device_info);
const char *ble_central_get_device_type_string(const struct bt_scan_device_info *device_info);

/* Background scanning for RSSI updates during connections */
int ble_central_start_background_scan_for_rssi(void);

/* Multi-bond support - bonded device structure */
#define MAX_BONDED_DEVICES 4

struct bonded_device {
	bt_addr_le_t addr;
	char name[32];
	uint32_t last_seen;
	bool is_valid;
};

/* Multi-bond management functions */
bool ble_central_is_device_bonded(const bt_addr_le_t *addr);
int ble_central_add_bonded_device(const bt_addr_le_t *addr, const char *name);
int ble_central_remove_bonded_device(const bt_addr_le_t *addr);
int ble_central_get_bonded_devices(struct bonded_device *out_list, size_t max_count);
void ble_central_clear_bonded_device(void);  /* Clears ALL bonds */

/* Get bonded device address and name (returns first bonded device for backwards compatibility) */
bool ble_central_get_bonded_device_addr(bt_addr_le_t *out_addr, char *out_name, size_t name_size);

/* Scanning state query */
bool ble_central_is_scanning(void);

/* Connecting state query */
bool ble_central_is_connecting(void);

/* Connected state query */
bool ble_central_is_connected(void);

/* Mark that GATT services are ready - transitions from CONNECTING to CONNECTED */
void ble_central_mark_services_ready(void);

#endif /* BLE_CENTRAL_H */
```

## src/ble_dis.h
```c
/*
 * Copyright (c) 2025 Robert Dale Smith
 * Copyright (c) 2025 Augmental Tech
 *
 * SPDX-License-Identifier: Apache-2.0
 */

#ifndef BLE_DIS_H_
#define BLE_DIS_H_

#include <zephyr/bluetooth/conn.h>
#include <stdint.h>
#include <stdbool.h>

#ifdef __cplusplus
extern "C" {
#endif

/* Maximum lengths for DIS strings */
#define BLE_DIS_FIRMWARE_VERSION_MAX_LEN 64
#define BLE_DIS_DEVICE_NAME_MAX_LEN 64
#define BLE_DIS_HARDWARE_REVISION_MAX_LEN 64
#define BLE_DIS_MANUFACTURER_NAME_MAX_LEN 64
#define BLE_DIS_MODEL_NUMBER_MAX_LEN 64

/**
 * @brief Device Information structure
 */
typedef struct {
	char firmware_version[BLE_DIS_FIRMWARE_VERSION_MAX_LEN];
	char device_name[BLE_DIS_DEVICE_NAME_MAX_LEN];
	char hardware_revision[BLE_DIS_HARDWARE_REVISION_MAX_LEN];
	char manufacturer_name[BLE_DIS_MANUFACTURER_NAME_MAX_LEN];
	char model_number[BLE_DIS_MODEL_NUMBER_MAX_LEN];
	uint16_t vendor_id;
	uint16_t product_id;
	bool has_firmware_version;
	bool has_device_name;
	bool has_hardware_revision;
	bool has_manufacturer_name;
	bool has_model_number;
	bool has_pnp_id;
} ble_dis_info_t;

/**
 * @brief Initialize the Device Information Service client
 *
 * @return 0 on success, negative error code on failure
 */
int ble_dis_init(void);

/**
 * @brief Start Device Information Service discovery on a BLE connection
 *
 * This will discover the DIS service and read all available characteristics
 * (Firmware Revision, Device Name, Hardware Revision, Manufacturer Name).
 *
 * @param conn BLE connection to discover DIS on
 * @return 0 on success, negative error code on failure
 */
int ble_dis_discover(struct bt_conn *conn);

/**
 * @brief Check if Device Information Service discovery is complete
 *
 * @return true if DIS discovery is complete and data is available, false otherwise
 */
bool ble_dis_is_ready(void);

/**
 * @brief Reset Device Information Service state on disconnect
 *
 * Clears all cached device information.
 */
void ble_dis_reset(void);

/**
 * @brief Get the cached device information
 *
 * @return Pointer to device information structure, or NULL if not available
 */
const ble_dis_info_t *ble_dis_get_info(void);

/**
 * @brief Load device information for a specific bonded device address
 *
 * @param addr BLE address of the bonded device
 * @param out_info Output structure to fill with device info
 * @return 0 on success, negative error code if not found or on failure
 */
int ble_dis_load_info_for_addr(const bt_addr_le_t *addr, ble_dis_info_t *out_info);

/**
 * @brief Clear saved device information for a specific address
 *
 * @param addr BLE address of the device to clear
 */
void ble_dis_clear_saved_for_addr(const bt_addr_le_t *addr);

/**
 * @brief Clear all saved device information from persistent storage
 *
 * This should be called when bonds are cleared to remove cached DIS info.
 */
void ble_dis_clear_saved(void);

/**
 * @brief Clear cached firmware version for a specific device
 *
 * Loads the cached DIS info, clears only the firmware version field,
 * and saves it back. This forces firmware version to be re-read on
 * next connection (useful after MouthPad firmware update).
 *
 * @param addr BLE address of the device
 */
void ble_dis_clear_cached_firmware_for_addr(const bt_addr_le_t *addr);

/**
 * @brief Clear cached firmware version for all bonded devices
 *
 * This should be called when initiating a firmware update flow to ensure
 * the dongle re-reads firmware version on next connection.
 */
void ble_dis_clear_all_cached_firmware(void);

/**
 * @brief Load cached DIS info from in-memory cache for connected device
 *
 * Called when device connects to populate device_info from the in-memory cache.
 * The in-memory cache is loaded from flash at boot.
 *
 * @param addr BLE address of the connected device
 */
void ble_dis_load_cache_for_connected_device(const bt_addr_le_t *addr);

/**
 * @brief Check if we have cached device info with firmware version
 *
 * This is used to determine if we can report Connected state early
 * (when NUS is ready) or if we need to wait for DIS to retrieve firmware version.
 *
 * @return true if cached device info exists with valid firmware version
 */
bool ble_dis_has_cached_firmware(void);

/**
 * @brief Callback type for DIS discovery completion
 *
 * @param conn BLE connection
 */
typedef void (*ble_dis_discovery_complete_cb_t)(struct bt_conn *conn);

/**
 * @brief Set callback to be called when DIS discovery completes
 *
 * @param cb Callback function
 */
void ble_dis_set_discovery_complete_cb(ble_dis_discovery_complete_cb_t cb);

#ifdef __cplusplus
}
#endif

#endif /* BLE_DIS_H_ */
```
